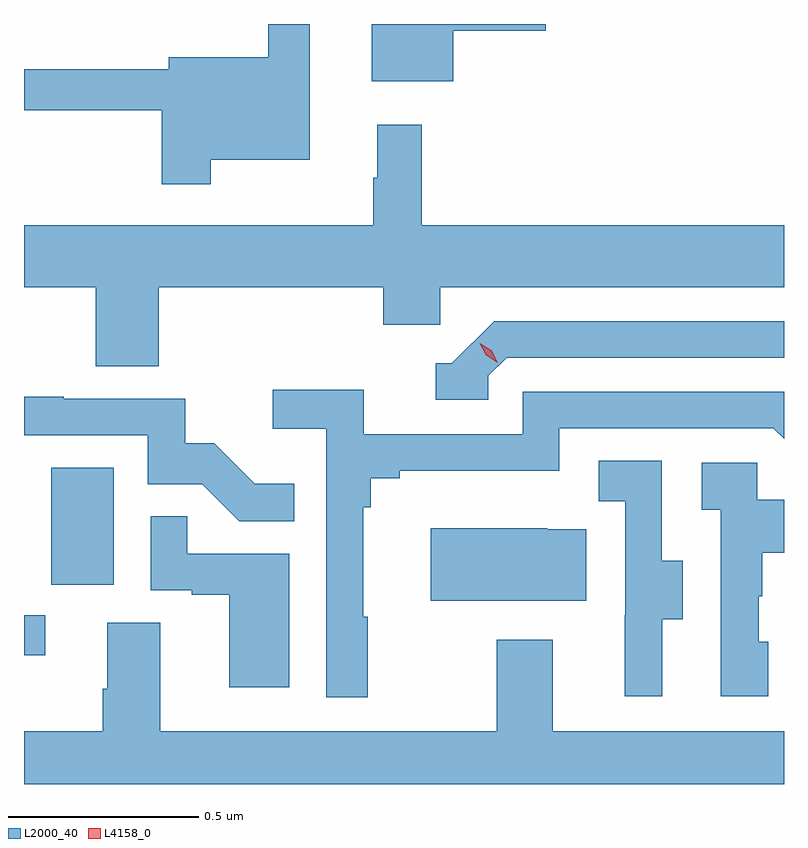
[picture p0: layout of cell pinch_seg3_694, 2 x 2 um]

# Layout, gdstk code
import gdstk
lib = gdstk.Library(unit=1e-6, precision=1e-09)
def R(c, l, rs):  # rectangles x0, y0, x1, y1
    for r in rs: c.add(gdstk.rectangle(r[:2], r[2:], *l))
def P(c, l, *ps):  # polygons
    for p in ps: c.add(gdstk.Polygon(p, *l))
L2000_40 = (2000, 40)
L4158_0 = (4158, 0)

pinch_seg3_694 = lib.new_cell('pinch_seg3_694')
R(pinch_seg3_694, L2000_40, [(1118.96,673.308,1119.016,673.413), (1119.032,673.494,1119.196,673.801)])
P(pinch_seg3_694, L2000_40, [(1119.451,674.612),(1119.712,674.612),(1119.712,674.969),(1119.603,674.969),(1119.603,674.881),(1119.341,674.881),(1119.341,674.85),(1118.96,674.85),(1118.96,674.742),(1119.322,674.742),(1119.322,674.547),(1119.451,674.547)],
  [(1120.09,674.951),(1120.333,674.951),(1120.333,674.969),(1119.875,674.969),(1119.875,674.819),(1120.09,674.819)],
  [(1119.314,674.276),(1119.905,674.276),(1119.905,674.178),(1120.056,674.178),(1120.056,674.276),(1120.96,674.276),(1120.96,674.44),(1120.007,674.44),(1120.007,674.704),(1119.89,674.704),(1119.89,674.564),(1119.879,674.564),(1119.879,674.44),(1118.96,674.44),(1118.96,674.276),(1119.149,674.276),(1119.149,674.068),(1119.314,674.068)],
  [(1120.182,674.043),(1120.23,674.091),(1120.96,674.091),(1120.96,674.187),(1120.197,674.187),(1120.086,674.076),(1120.043,674.076),(1120.043,673.98),(1120.182,673.98)],
  [(1119.865,673.409),(1119.853,673.409),(1119.853,673.697),(1119.872,673.697),(1119.872,673.774),(1119.949,673.774),(1119.949,673.793),(1120.368,673.793),(1120.368,673.905),(1120.932,673.905),(1120.96,673.877),(1120.96,674.001),(1120.272,674.001),(1120.272,673.89),(1119.854,673.89),(1119.854,674.006),(1119.615,674.006),(1119.615,673.904),(1119.756,673.904),(1119.756,673.197),(1119.865,673.197)],
  [(1119.671,673.759),(1119.567,673.759),(1119.46,673.866),(1119.384,673.866),(1119.384,673.983),(1119.065,673.983),(1119.065,673.988),(1118.96,673.988),(1118.96,673.887),(1119.285,673.887),(1119.285,673.758),(1119.429,673.758),(1119.527,673.66),(1119.671,673.66)],
  [(1120.639,673.402),(1120.693,673.402),(1120.693,673.557),(1120.638,673.557),(1120.638,673.82),(1120.473,673.82),(1120.473,673.713),(1120.542,673.713),(1120.542,673.413),(1120.541,673.413),(1120.541,673.2),(1120.639,673.2)],
  [(1120.918,673.344),(1120.893,673.344),(1120.893,673.463),(1120.903,673.463),(1120.903,673.577),(1120.96,673.577),(1120.96,673.717),(1120.89,673.717),(1120.89,673.815),(1120.743,673.815),(1120.743,673.691),(1120.794,673.691),(1120.794,673.2),(1120.918,673.2)],
  [(1119.658,673.575),(1119.389,673.575),(1119.389,673.673),(1119.294,673.673),(1119.294,673.479),(1119.401,673.479),(1119.401,673.467),(1119.5,673.467),(1119.5,673.224),(1119.658,673.224)],
  [(1120.439,673.639),(1120.337,673.639),(1120.337,673.642),(1120.031,673.642),(1120.031,673.451),(1120.439,673.451)],
  [(1120.96,673.108),(1120.351,673.108),(1120.351,673.348),(1120.204,673.348),(1120.204,673.108),(1119.319,673.108),(1119.319,673.394),(1119.179,673.394),(1119.179,673.22),(1119.167,673.22),(1119.167,673.108),(1118.96,673.108),(1118.96,672.969),(1120.96,672.969)])
P(pinch_seg3_694, L4158_0, [(1120.207,674.078),(1120.176,674.097),(1120.159,674.129),(1120.159,674.129),(1120.159,674.129),(1120.19,674.11),(1120.207,674.078),(1120.207,674.078)])

lib.write_gds('pinch_seg3_694.gds')
